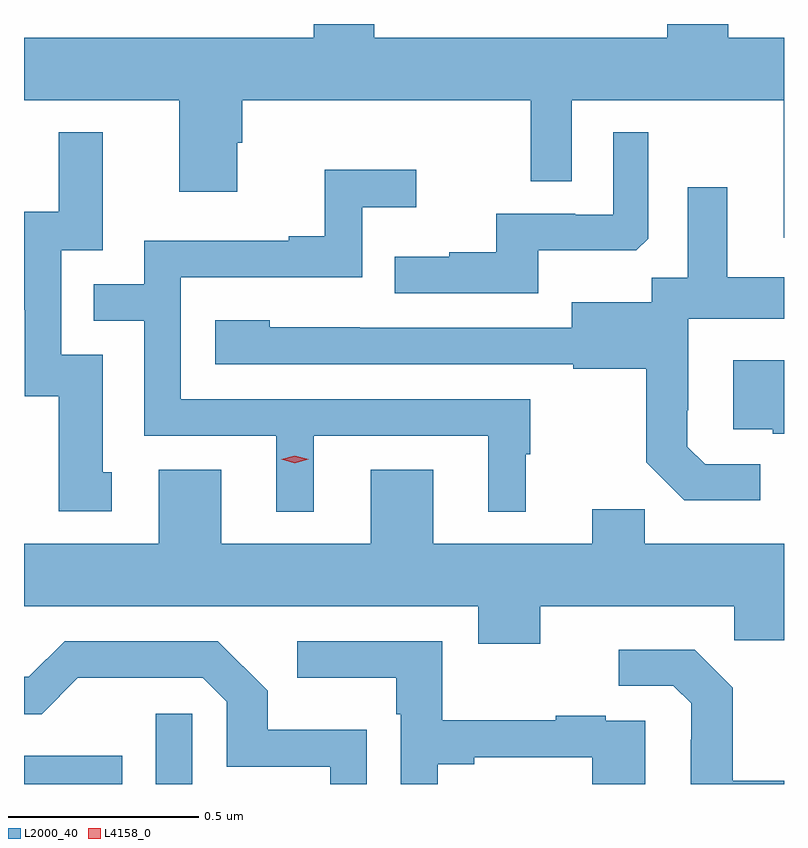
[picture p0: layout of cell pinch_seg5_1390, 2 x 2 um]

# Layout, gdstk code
import gdstk
lib = gdstk.Library(unit=1e-6, precision=1e-09)
def R(c, l, rs):  # rectangles x0, y0, x1, y1
    for r in rs: c.add(gdstk.rectangle(r[:2], r[2:], *l))
def P(c, l, *ps):  # polygons
    for p in ps: c.add(gdstk.Polygon(p, *l))
L2000_40 = (2000, 40)
L4158_0 = (4158, 0)

pinch_seg5_1390 = lib.new_cell('pinch_seg5_1390')
R(pinch_seg5_1390, L2000_40, [(302.644,897.584,302.902,897.658), (302.991,897.584,303.087,897.769)])
P(pinch_seg5_1390, L2000_40, [(304.644,899.548),(304.497,899.548),(304.497,899.584),(304.337,899.584),(304.337,899.548),(303.566,899.548),(303.566,899.584),(303.406,899.584),(303.406,899.548),(302.644,899.548),(302.644,899.384),(303.053,899.384),(303.053,899.142),(303.205,899.142),(303.205,899.271),(303.218,899.271),(303.218,899.384),(303.978,899.384),(303.978,899.17),(304.086,899.17),(304.086,899.384),(304.643,899.384),(304.643,899.022),(304.644,899.022)],
  [(302.875,898.404),(302.851,898.404),(302.851,898.713),(302.742,898.713),(302.742,898.989),(302.851,898.989),(302.851,899.299),(302.735,899.299),(302.735,899.09),(302.645,899.09),(302.645,898.984),(302.644,898.984),(302.644,898.832),(302.646,898.832),(302.646,898.605),(302.735,898.605),(302.735,898.302),(302.875,898.302)],
  [(303.997,898.988),(304.255,898.988),(304.287,899.019),(304.287,899.299),(304.194,899.299),(304.194,899.082),(304.094,899.082),(304.094,899.085),(303.887,899.085),(303.887,898.984),(303.763,898.984),(303.763,898.972),(303.619,898.972),(303.619,898.875),(303.997,898.875)],
  [(303.406,898.5),(303.866,898.5),(303.866,898.301),(303.964,898.301),(303.964,898.452),(303.976,898.452),(303.976,898.596),(303.057,898.596),(303.057,898.917),(303.534,898.917),(303.534,899.102),(303.676,899.102),(303.676,899.201),(303.436,899.201),(303.436,899.026),(303.341,899.026),(303.341,899.013),(302.961,899.013),(302.961,898.899),(302.827,898.899),(302.827,898.803),(302.961,898.803),(302.961,898.5),(303.308,898.5),(303.308,898.301),(303.406,898.301)],
  [(304.582,898.425),(304.437,898.425),(304.39,898.472),(304.39,898.567),(304.392,898.567),(304.392,898.808),(304.644,898.808),(304.644,898.918),(304.495,898.918),(304.495,899.155),(304.391,899.155),(304.391,898.916),(304.296,898.916),(304.296,898.852),(304.085,898.852),(304.085,898.785),(303.527,898.785),(303.527,898.786),(303.291,898.786),(303.291,898.804),(303.147,898.804),(303.147,898.689),(304.089,898.689),(304.089,898.677),(304.281,898.677),(304.281,898.431),(304.381,898.331),(304.582,898.331)],
  [(304.644,898.699),(304.511,898.699),(304.511,898.518),(304.615,898.518),(304.615,898.506),(304.644,898.506)],
  [(304.003,898.052),(304.513,898.052),(304.513,897.962),(304.644,897.962),(304.644,898.216),(304.277,898.216),(304.277,898.307),(304.139,898.307),(304.139,898.216),(303.721,898.216),(303.721,898.411),(303.557,898.411),(303.557,898.216),(303.163,898.216),(303.163,898.411),(302.999,898.411),(302.999,898.216),(302.644,898.216),(302.644,898.052),(303.839,898.052),(303.839,897.953),(304.003,897.953)],
  [(303.546,897.727),(303.285,897.727),(303.285,897.83),(303.154,897.96),(302.751,897.96),(302.657,897.866),(302.644,897.866),(302.644,897.768),(302.691,897.768),(302.786,897.863),(302.89,897.863),(302.89,897.864),(303.114,897.864),(303.177,897.801),(303.177,897.63),(303.45,897.63),(303.45,897.584),(303.546,897.584)],
  [(303.733,897.636),(303.829,897.636),(303.829,897.654),(304.139,897.654),(304.139,897.584),(304.279,897.584),(304.279,897.75),(304.175,897.75),(304.175,897.763),(304.043,897.763),(304.043,897.752),(303.745,897.752),(303.745,897.96),(303.363,897.96),(303.363,897.863),(303.624,897.863),(303.624,897.767),(303.636,897.767),(303.636,897.584),(303.733,897.584)],
  [(304.644,897.592),(304.509,897.592),(304.509,897.837),(304.409,897.937),(304.209,897.937),(304.209,897.843),(304.353,897.843),(304.4,897.796),(304.4,897.701),(304.398,897.701),(304.398,897.584),(304.644,897.584)])
P(pinch_seg5_1390, L4158_0, [(303.357,898.428),(303.321,898.438),(303.321,898.438),(303.321,898.438),(303.357,898.448),(303.393,898.438),(303.393,898.438),(303.393,898.438)])

lib.write_gds('pinch_seg5_1390.gds')
